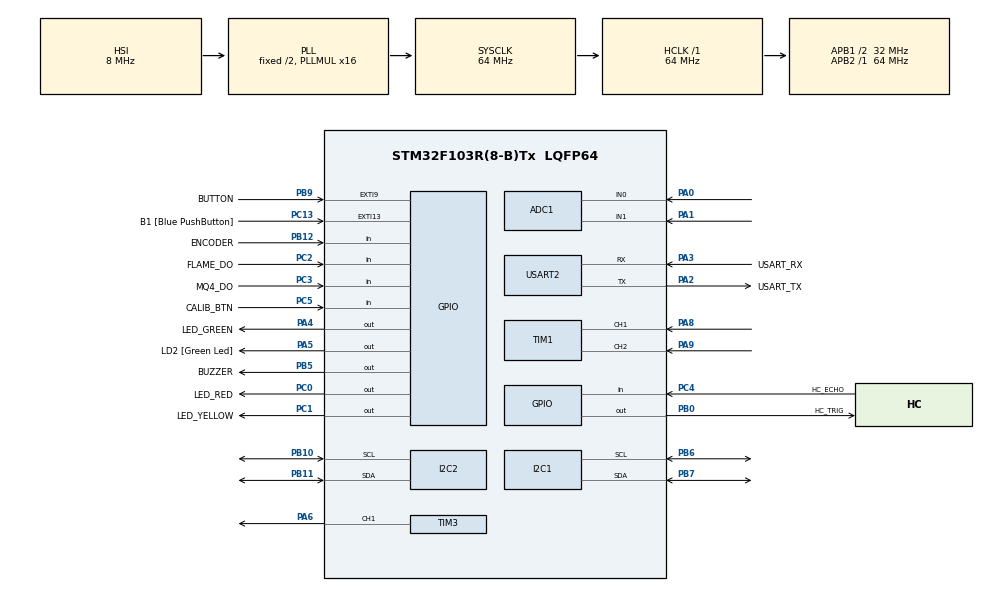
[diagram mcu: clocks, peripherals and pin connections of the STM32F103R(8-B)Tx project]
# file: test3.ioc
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ADC1.Channel-0\#ChannelRegularConversion=ADC_CHANNEL_0
ADC1.Channel-1\#ChannelRegularConversion=ADC_CHANNEL_1
ADC1.ContinuousConvMode=ENABLE
ADC1.NbrOfConversion=2
ADC1.NbrOfConversionFlag=1
ADC1.Rank-0\#ChannelRegularConversion=1
ADC1.Rank-1\#ChannelRegularConversion=2
ADC1.SamplingTime-0\#ChannelRegularConversion=ADC_SAMPLETIME_55CYCLES_5
ADC1.SamplingTime-1\#ChannelRegularConversion=ADC_SAMPLETIME_55CYCLES_5
ADC1.master=1
Dma.ADC1.0.Direction=DMA_PERIPH_TO_MEMORY
Dma.ADC1.0.Instance=DMA1_Channel1
Dma.ADC1.0.MemDataAlignment=DMA_MDATAALIGN_HALFWORD
Dma.ADC1.0.MemInc=DMA_MINC_ENABLE
Dma.ADC1.0.Mode=DMA_CIRCULAR
Dma.ADC1.0.PeriphDataAlignment=DMA_PDATAALIGN_HALFWORD
Dma.ADC1.0.PeriphInc=DMA_PINC_DISABLE
Dma.ADC1.0.Priority=DMA_PRIORITY_LOW
Dma.Request0=ADC1
Mcu.Family=STM32F1
Mcu.Name=STM32F103R(8-B)Tx
Mcu.Package=LQFP64
NVIC.DMA1_Channel1_IRQn=true\:0\:0\:false\:false\:true\:false\:true\:true
NVIC.EXTI15_10_IRQn=true\:1\:0\:true\:false\:true\:true\:true\:true
NVIC.EXTI9_5_IRQn=true\:1\:0\:true\:false\:true\:true\:true\:true
NVIC.PriorityGroup=NVIC_PRIORITYGROUP_4
PA0-WKUP.Signal=ADCx_IN0
PA1.Signal=ADCx_IN1
PA13.GPIO_Label=TMS
PA13.Mode=Serial_Wire
PA13.Signal=SYS_JTMS-SWDIO
PA14.GPIO_Label=TCK
PA14.Mode=Serial_Wire
PA14.Signal=SYS_JTCK-SWCLK
PA2.GPIO_Label=USART_TX
PA2.GPIO_Mode=GPIO_MODE_AF_PP
PA2.GPIO_PuPd=GPIO_NOPULL
PA2.GPIO_Speed=GPIO_SPEED_FREQ_LOW
PA2.Mode=Asynchronous
PA2.Signal=USART2_TX
PA3.GPIO_Label=USART_RX
PA3.GPIO_Mode=GPIO_MODE_AF_PP
PA3.GPIO_PuPd=GPIO_NOPULL
PA3.GPIO_Speed=GPIO_SPEED_FREQ_LOW
PA3.Mode=Asynchronous
PA3.Signal=USART2_RX
PA4.GPIO_Label=LED_GREEN
PA4.Signal=GPIO_Output
PA5.GPIO_Label=LD2 [Green Led]
PA5.GPIO_ModeDefaultOutputPP=GPIO_MODE_OUTPUT_PP
PA5.GPIO_PuPd=GPIO_NOPULL
PA5.GPIO_Speed=GPIO_SPEED_FREQ_LOW
PA5.Signal=GPIO_Output
PA6.Signal=S_TIM3_CH1
PA8.Signal=S_TIM1_CH1
PA9.Signal=S_TIM1_CH2
PB0.GPIO_Label=HC_TRIG
PB0.Signal=GPIO_Output
PB10.Mode=I2C
PB10.Signal=I2C2_SCL
PB11.Mode=I2C
PB11.Signal=I2C2_SDA
PB12.GPIO_Label=ENCODER
PB12.GPIO_PuPd=GPIO_PULLUP
PB12.Signal=GPIO_Input
PB3.GPIO_Label=SWO
PB3.Signal=SYS_JTDO-TRACESWO
PB5.GPIO_Label=BUZZER
PB5.Signal=GPIO_Output
PB6.Mode=I2C
PB6.Signal=I2C1_SCL
PB7.Mode=I2C
PB7.Signal=I2C1_SDA
PB9.GPIO_Label=BUTTON 
PB9.GPIO_ModeDefaultEXTI=GPIO_MODE_IT_FALLING
PB9.GPIO_PuPd=GPIO_PULLUP
PB9.Signal=GPXTI9
PC0.GPIO_Label=LED_RED
PC0.Signal=GPIO_Output
PC1.GPIO_Label=LED_YELLOW
PC1.Signal=GPIO_Output
PC13-TAMPER-RTC.GPIO_Label=B1 [Blue PushButton]
PC13-TAMPER-RTC.GPIO_PuPd=GPIO_NOPULL
PC13-TAMPER-RTC.Signal=GPXTI13
PC14-OSC32_IN.Signal=RCC_OSC32_IN
PC15-OSC32_OUT.Signal=RCC_OSC32_OUT
PC2.GPIO_Label=FLAME_DO
PC2.Signal=GPIO_Input
PC3.GPIO_Label=MQ4_DO
PC3.Signal=GPIO_Input
PC4.GPIO_Label=HC_ECHO
PC4.Signal=GPIO_Input
PC5.GPIO_Label=CALIB_BTN
PC5.GPIO_PuPd=GPIO_PULLUP
PC5.Signal=GPIO_Input
PD0-OSC_IN.Signal=RCC_OSC_IN
PD1-OSC_OUT.Signal=RCC_OSC_OUT
ProjectManager.HeapSize=0x200
ProjectManager.StackSize=0x400
ProjectManager.TargetToolchain=STM32CubeIDE
RCC.ADCPresc=RCC_ADCPCLK2_DIV8
RCC.AHBFreq_Value=64000000
RCC.APB1CLKDivider=RCC_HCLK_DIV2
RCC.APB1Freq_Value=32000000
RCC.APB1TimFreq_Value=64000000
RCC.APB2Freq_Value=64000000
RCC.APB2TimFreq_Value=64000000
RCC.HCLKFreq_Value=64000000
RCC.PLLMUL=RCC_PLL_MUL16
RCC.RTCClockSelection=RCC_RTCCLKSOURCE_LSE
RCC.SYSCLKFreq_VALUE=64000000
RCC.SYSCLKSource=RCC_SYSCLKSOURCE_PLLCLK
RCC.USBFreq_Value=64000000
SH.ADCx_IN0.0=ADC1_IN0,IN0
SH.ADCx_IN1.0=ADC1_IN1,IN1
SH.S_TIM1_CH1.0=TIM1_CH1,Encoder_Interface
SH.S_TIM1_CH2.0=TIM1_CH2,Encoder_Interface
SH.S_TIM3_CH1.0=TIM3_CH1,PWM Generation1 CH1
TIM1.EncoderMode=TIM_ENCODERMODE_TI12
TIM2.Prescaler=63
TIM3.Channel-PWM\ Generation1\ CH1=TIM_CHANNEL_1
TIM3.Period=19999
TIM3.Prescaler=63
TIM3.Pulse-PWM\ Generation1\ CH1=1500
USART2.VirtualMode=VM_ASYNC
VP_TIM2_VS_ClockSourceINT.Mode=Internal
VP_TIM3_VS_ClockSourceINT.Mode=Internal
board=NUCLEO-F103RB

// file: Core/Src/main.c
/* USER CODE BEGIN Header */

/**

  ******************************************************************************

  * @file           : main.c

  * @brief          : Main program body

  ******************************************************************************

  * @attention

  *

  * Copyright (c) 2026 STMicroelectronics.

  * All rights reserved.

  *

  ******************************************************************************

  */

/* USER CODE END Header */
#include "main.h"

/* USER CODE BEGIN Includes */

#include <stdio.h>
#include <stdlib.h>

/* USER CODE END Includes */

/* USER CODE BEGIN PD */
/* ===== ADC ===== */
#define ADC_CH_COUNT   2
#define MQ4_IDX        0
#define FLAME_IDX      1
#define VREF           3.3f
#define ADC_MAX        4095.0f

/* ===== MLX90614 ===== */
#define MLX90614_ADDR         (0x5A << 1)
#define MLX90614_REG_AMBIENT  0x06
#define MLX90614_REG_OBJECT   0x07

/* ===== HC-SR04 ===== */
#define HC_SR04_TIMEOUT_US    30000

/* ===== SERVO (2600=닫힘/9시, 1500=열림/12시) ===== */
#define SERVO_OPEN_US   1500
#define SERVO_CLOSE_US  2600
#define SERVO_MIN_US    1500
#define SERVO_MAX_US    2600

#define PRINT_PERIOD_MS 500

/* ===== 경보 핀 매핑 ===== */
#define BUZZER_PORT  BUZZER_GPIO_Port
#define BUZZER_PIN   BUZZER_Pin
#define LED_R_PORT   LED_RED_GPIO_Port
#define LED_R_PIN    LED_RED_Pin
#define LED_Y_PORT   LED_YELLOW_GPIO_Port
#define LED_Y_PIN    LED_YELLOW_Pin
#define LED_G_PORT   LED_GREEN_GPIO_Port
#define LED_G_PIN    LED_GREEN_Pin
#define ACT_ON       GPIO_PIN_SET     /* active-low이면 RESET */
#define ACT_OFF      GPIO_PIN_RESET

#define FLAME_ON_LEVEL  0             /* 불꽃 DO 극성(현재 버너는 잘 안 잡힘) */

/* ===== 가스 (절대 raw 임계 + 지속) ===== */
#define GAS_WARN_RAW     2100         /* 경고 (시작 상한 2000 위) */
#define GAS_DAN_RAW      2300         /* 위험 (실측 누출값) */
#define GAS_DAN_RAW_COOK 2700         /* 조리 중엔 둔감 */
#define GAS_DAN_HOLD     5            /* 위험은 연속 5틱(2.5s) 지속돼야 확정 */

/* ===== 온도 ===== */
#define DT_ON          15.0f       /* 이 이상이면 "버너 활성"(heat_on) — 가스임계 완화용 */
#define DT_DANGER      260.0f      /* 표면 과열(soft, WARN) */
#define TA_DANGER      70.0f       /* 주변온도 과열(hard) */
#define S_DRY          30.0f       /* 빈냄비 의심 기울기(soft) */

/* ===== 불꽃센서 (화재감지 전용 · 화구에서 떨어뜨려 배치 · 아날로그 상대) ===== */
#define FLAME_DROP     800         /* 부팅 기준선 대비 이만큼↓ 떨어지면 불꽃 */
#define FLAME_FIRE_CNT 6           /* 연속 6틱(약 3s) 지속돼야 화재 확정 */

/* ===== 점유(HC-SR04) ===== */
#define PRESENCE_CM_DEFAULT 100.0f  /* 기본 거리임계(런타임 g_presence_cm 초기값) */
#define PRESENCE_ON_TICKS 2       /* 가까움 연속 2틱이어야 "사람 있음" 인정(스파이크 방지) */

/* ===== 거리 임계값 보정 모드 (S_CALIB) =====
 * CALIB 버튼 → 5초 대기(사용자 화구 앞 이동) → 10초 측정 평균 → 임계값 채택.
 * 주의(CAUTION)·경보(ALERT)에서는 진입 불가. */
#define CALIB_BTN_PORT     GPIOC        /* ★ 보정 버튼 핀(.ioc GPIO 입력 풀업) */
#define CALIB_BTN_PIN      GPIO_PIN_5
#define CALIB_BTN_ACTIVE_LOW 1
#define CALIB_WAIT_MS      5000UL       /* 진입 후 대기(이동 시간) */
#define CALIB_MEAS_MS      10000UL      /* 측정 시간 */
#define CALIB_MARGIN_CM    20.0f        /* 측정 평균 + 여유 = 임계값(서 있는 위치보다 약간 멀리) */
#define CALIB_MIN_CM       20.0f        /* 임계값 하한 */
#define CALIB_MAX_CM       400.0f       /* 임계값 상한 */
#define CALIB_MIN_SAMPLES  3            /* 유효 샘플 최소(미만이면 보정 실패, 기존값 유지) */

/* ===== 타이머 =====
 * ***********************************************************************
 * *  [!] 아래는 디버그용 "단축값"이다. 디버깅이 끝나면 반드시 우측 주석의  *
 * *      실제 목표값으로 되돌릴 것. (경진대회/실사용 전 필수 체크리스트)   *
 * *********************************************************************** */
#define T_ABS_DEB_MS   3000UL      /* 이탈 확정 지속       · 실제 3000~8000 */
#define T_BASE_MS      60000UL     /* 기본 타이머(추후 가변) · 실제 15분 = 900000 */
#define T_CONFIRM_MS   10000UL     /* 문제(WARN) 유예       · 실제 30초 = 30000 */
#define T_CAP_SESSION_MS 300000UL  /* 절대 세션 상한        · 실제 2시간 = 7200000 */
#define T_WARMUP_MS    3000UL      /* 부팅 워밍업          · 실제 300초 = 300000 */
#define T_POSTCLOSE_MS 15000UL     /* 주의(관찰) 최소       · 실제 60초 = 60000 */
#define T_GASFAIL_MS   10000UL     /* 닫힘 실패 감시창 */
#define TOBJ_HIST_N    20

/* ===== 상태 안정화 (채터링 방지: 지속/체류 조건) ===== */
#define SOFT_ENTER_TICKS  3        /* 소프트 이상 연속 3틱(1.5s)이면 문제 진입 */
#define CLEAR_TICKS       3        /* 해소도 연속 3틱이어야 복귀 */
#define WARN_MIN_MS       3000UL   /* 문제 최소 체류(바로 튕겨나가기 방지) */
#define CAUTION_OK_TICKS  6        /* 주의→대기: 안정 연속 6틱(3s) */
#define ALERT_EASE_TICKS  10       /* 경보→주의: 완화 연속 10틱(5s) */

/* ===== 타이머콕: 엔코더 + I2C CLCD 설정 타이머 (v8) =====
 * 스텝: 1~10분(1분) → ~60분(10분) → ~9시간(60분). 개방 시 확정 → 만료 시 잠금. */
#define TSET_MIN_MIN   1
#define TSET_MAX_MIN   540         /* 9시간 */
#define TSET_DEFAULT   30

/* --- 엔코더: 타이머 Encoder Mode = TIM1 (PA8=CH1, PA9=CH2) --- *
 * ★ .ioc: TIM1을 Encoder Mode로. 초음파 ECHO는 PA8→PC4로 이동(라벨 HC_ECHO 유지). */
#define ENC_TIM               htim1        /* TIM1 엔코더 */
#define ENC_COUNTS_PER_DETENT 4            /* 1클릭당 카운트(보통 4, 어떤건 2). 방향 반대면 A/B swap */
#define ENC_SW_PORT           GPIOB        /* 엔코더 푸시 스위치 = PB12 */
#define ENC_SW_PIN            GPIO_PIN_12
#define ENC_SW_ACTIVE_LOW     1            /* 풀업+눌림=LOW면 1 */

/* --- I2C CLCD (PCF8574 백팩, HD44780 4비트) = I2C2 단독(MLX와 분리) --- *
 * ★ .ioc: I2C2 활성(SCL=PB10, SDA=PB11). FLAME_DO→PC2, MQ4_DO→PC3로 이동(라벨 유지).
 *   I2C2(PB10/11)는 5V 관용이라 CLCD 5V 구동 가능(MLX 버스와 분리라 안전). */
#define LCD_HI2C   hi2c2                    /* CLCD 전용 I2C2 */
#define LCD_ADDR   (0x27 << 1)             /* PCF8574 주소(보통 0x27, 간혹 0x3F) */
/* USER CODE END PD */

ADC_HandleTypeDef hadc1;
DMA_HandleTypeDef hdma_adc1;

I2C_HandleTypeDef hi2c1;
I2C_HandleTypeDef hi2c2;

TIM_HandleTypeDef htim1;
TIM_HandleTypeDef htim2;
TIM_HandleTypeDef htim3;

UART_HandleTypeDef huart2;

/* USER CODE BEGIN PV */
volatile uint16_t g_adc[ADC_CH_COUNT];
volatile uint32_t g_rx_count = 0;
volatile uint8_t  g_servo_changed = 0;
volatile uint16_t g_servo_us = SERVO_OPEN_US;

float g_mq4_r0 = 10.0f;
float g_hc_distance_cm = 0.0f;

volatile uint8_t g_confirm = 0;        /* 확인/해제 */
volatile uint8_t g_test_danger = 0;    /* 'x' 강제위험(테스트) */
volatile uint8_t g_open_request = 0;   /* 버튼: 열기 */
volatile uint8_t g_close_request = 0;  /* 버튼: 정상 닫기 */

volatile uint16_t g_set_minutes = TSET_DEFAULT;  /* 확정된 설정 시간(분) */
volatile uint16_t g_set_pending = TSET_DEFAULT;  /* 엔코더로 조절 중인 값(누르면 확정) */

volatile uint8_t  g_calib_request = 0;           /* CALIB 버튼: 거리 보정 진입 요청 */
float             g_presence_cm = PRESENCE_CM_DEFAULT;  /* 런타임 거리 임계값(보정으로 갱신) */

typedef enum { S_BOOT, S_IDLE, S_OPEN, S_WARN, S_CLOSE, S_CAUTION, S_ALERT, S_CALIB } fsm_state_t;
/* 문제(WARN) 진입 사유 */
typedef enum { WR_NONE, WR_SENSOR, WR_TIMER, WR_CAP } warn_reason_t;

typedef struct {
    fsm_state_t state;
    uint16_t gas_raw, gas_base, gas_rise; int16_t gas_step; uint8_t gas_hold;
    uint16_t flame_raw, flame_base; uint8_t flame_do, flame_detect;
    uint8_t temp_ok, heat_on; float tobj, ta, dT, slope;
    uint8_t dist_ok, present; float dist;
    uint8_t gas_warn, gas_danger, flameout_rawgas, fire, device_overheat, overheat, boil_dry, immediate_danger;
    uint8_t soft_n;              /* 동시 소프트 이상 개수(가스경고/과열/빈냄비) */
    uint8_t warn_reason;
    uint32_t remain_s, elapsed_s;
    uint16_t set_min; uint32_t set_remain_s;   /* 설정 시간 / 잔여(초) */
} tele_t;
tele_t g_tele;
/* USER CODE END PV */

void SystemClock_Config(void);
static void MX_GPIO_Init(void);
static void MX_DMA_Init(void);
static void MX_USART2_UART_Init(void);
static void MX_ADC1_Init(void);
static void MX_I2C1_Init(void);
static void MX_TIM3_Init(void);
static void MX_TIM2_Init(void);
static void MX_TIM1_Init(void);
static void MX_I2C2_Init(void);
/* USER CODE BEGIN PFP */
int __io_putchar(int ch);
void Servo_SetPulse(uint16_t pulse_us);
void Servo_ApplyPulse(int32_t pulse_us);
void Servo_HandleChar(uint8_t c);
HAL_StatusTypeDef MLX90614_ReadTemp(uint8_t reg, float *temp_c);
void Delay_us(uint16_t us);
HAL_StatusTypeDef HC_SR04_ReadDistance(float *distance_cm);
void Alarm_On(void);
void Alarm_Off(void);
void Buzzer_Beep(uint16_t ms);
void LED_Show(fsm_state_t s);
void Notify(const char *m);
void Servo_Close_Valve(void);
void Servo_Open_Valve(void);
void Servo_Detach(void);
void Valve_UserOpen(void);
void Valve_UserClose(void);
const char* fsm_state_name(fsm_state_t s);
void FSM_Step(uint16_t gas_raw, uint8_t flame_do, uint16_t flame_raw,
              float tobj, float ta, uint8_t temp_ok, float dist_cm, uint8_t dist_ok);
void Tele_Print(void);
/* I2C CLCD + 엔코더 설정 타이머 */
void LCD_Init(void);
void LCD_Cmd(uint8_t c);
void LCD_Data(uint8_t d);
void LCD_Gotoxy(uint8_t col, uint8_t row);
void LCD_Puts(const char *s);
void LCD_UpdateStatus(void);
void Encoder_Init(void);
void Encoder_Poll(void);
void EncBtn_Poll(void);
/* USER CODE END PFP */

/* USER CODE BEGIN 0 */
int __io_putchar(int ch)
{
    HAL_UART_Transmit(&huart2, (uint8_t *)&ch, 1, HAL_MAX_DELAY);
    return ch;
}

void Servo_SetPulse(uint16_t pulse_us)
{
    __HAL_TIM_SET_COMPARE(&htim3, TIM_CHANNEL_1, pulse_us);
}
void Servo_ApplyPulse(int32_t pulse_us)
{
    if (pulse_us < SERVO_MIN_US) pulse_us = SERVO_MIN_US;
    if (pulse_us > SERVO_MAX_US) pulse_us = SERVO_MAX_US;
    g_servo_us = (uint16_t)pulse_us;
    Servo_SetPulse(g_servo_us);
    g_servo_changed = 1;
}

/* UART 수신: k=확인/해제, x=강제위험(테스트). 그 외 무시 */
void Servo_HandleChar(uint8_t c)
{
    switch (c) {
        case 'k': case 'K': g_confirm = 1; break;
        case 'x': case 'X': g_test_danger = 1; break;
        default: break;
    }
}

HAL_StatusTypeDef MLX90614_ReadTemp(uint8_t reg, float *temp_c)
{
    uint8_t data[3];
    HAL_StatusTypeDef st = HAL_I2C_Mem_Read(&hi2c1, MLX90614_ADDR, reg, I2C_MEMADD_SIZE_8BIT, data, 3, 100);
    if (st != HAL_OK) return st;
    uint16_t raw = ((uint16_t)data[1] << 8) | data[0];
    if (raw & 0x8000) return HAL_ERROR;
    *temp_c = ((float)raw * 0.02f) - 273.15f;
    return HAL_OK;
}

void Delay_us(uint16_t us)
{
    uint16_t s = (uint16_t)__HAL_TIM_GET_COUNTER(&htim2);
    while ((uint16_t)((uint16_t)__HAL_TIM_GET_COUNTER(&htim2) - s) < us) {}
}

HAL_StatusTypeDef HC_SR04_ReadDistance(float *distance_cm)
{
    uint16_t s, es, ee, pu;
    HAL_GPIO_WritePin(HC_TRIG_GPIO_Port, HC_TRIG_Pin, GPIO_PIN_RESET); Delay_us(2);
    HAL_GPIO_WritePin(HC_TRIG_GPIO_Port, HC_TRIG_Pin, GPIO_PIN_SET);   Delay_us(10);
    HAL_GPIO_WritePin(HC_TRIG_GPIO_Port, HC_TRIG_Pin, GPIO_PIN_RESET);
    s = (uint16_t)__HAL_TIM_GET_COUNTER(&htim2);
    while (HAL_GPIO_ReadPin(HC_ECHO_GPIO_Port, HC_ECHO_Pin) == GPIO_PIN_RESET)
        if ((uint16_t)((uint16_t)__HAL_TIM_GET_COUNTER(&htim2) - s) > HC_SR04_TIMEOUT_US) return HAL_TIMEOUT;
    es = (uint16_t)__HAL_TIM_GET_COUNTER(&htim2);
    while (HAL_GPIO_ReadPin(HC_ECHO_GPIO_Port, HC_ECHO_Pin) == GPIO_PIN_SET)
        if ((uint16_t)((uint16_t)__HAL_TIM_GET_COUNTER(&htim2) - es) > HC_SR04_TIMEOUT_US) return HAL_TIMEOUT;
    ee = (uint16_t)__HAL_TIM_GET_COUNTER(&htim2); pu = (uint16_t)(ee - es);
    *distance_cm = ((float)pu * 0.0343f) / 2.0f;
    return HAL_OK;
}

void Alarm_On(void)  { HAL_GPIO_WritePin(LED_R_PORT, LED_R_PIN, ACT_ON); }   /* 부저는 Buzzer_Beep로 */
void Alarm_Off(void) { HAL_GPIO_WritePin(BUZZER_PORT, BUZZER_PIN, ACT_OFF); HAL_GPIO_WritePin(LED_R_PORT, LED_R_PIN, ACT_OFF); }

/* 패시브 부저 2kHz 톤 */
void Buzzer_Beep(uint16_t ms)
{
    uint32_t s = HAL_GetTick();
    while (HAL_GetTick() - s < ms) {
        HAL_GPIO_WritePin(BUZZER_PORT, BUZZER_PIN, ACT_ON);  Delay_us(250);
        HAL_GPIO_WritePin(BUZZER_PORT, BUZZER_PIN, ACT_OFF); Delay_us(250);
    }
}

void LED_Show(fsm_state_t s)
{
    GPIO_PinState g = ACT_OFF, y = ACT_OFF, r = ACT_OFF;
    if (s == S_IDLE || s == S_OPEN)                 g = ACT_ON;
    else if (s == S_CALIB)                          { g = ACT_ON; y = ACT_ON; }  /* 보정 중 */
    else if (s == S_WARN || s == S_CAUTION)         y = ACT_ON;
    else if (s == S_CLOSE || s == S_ALERT)          r = ACT_ON;
    HAL_GPIO_WritePin(LED_G_PORT, LED_G_PIN, g);
    HAL_GPIO_WritePin(LED_Y_PORT, LED_Y_PIN, y);
    HAL_GPIO_WritePin(LED_R_PORT, LED_R_PIN, r);
}
void Notify(const char *m) { printf("[NOTIFY] %s\r\n", m); }

/* --- 서보: 닫을 때만 구동, 그 외 detach(신호 LOW) --- */
static void Servo_PinAF(void)
{
    GPIO_InitTypeDef g = {0};
    g.Pin = GPIO_PIN_6; g.Mode = GPIO_MODE_AF_PP; g.Pull = GPIO_NOPULL; g.Speed = GPIO_SPEED_FREQ_LOW;
    HAL_GPIO_Init(GPIOA, &g);
}
void Servo_Detach(void)   /* 펄스 LOW 구간에서 정지(runt 방지) + 입력 풀다운 */
{
    uint32_t guard = 0;
    while (__HAL_TIM_GET_COUNTER(&htim3) < SERVO_CLOSE_US && ++guard < 200000) {}
    HAL_TIM_PWM_Stop(&htim3, TIM_CHANNEL_1);
    GPIO_InitTypeDef g = {0};
    g.Pin = GPIO_PIN_6; g.Mode = GPIO_MODE_INPUT; g.Pull = GPIO_PULLDOWN;
    HAL_GPIO_Init(GPIOA, &g);
}
void Servo_Close_Valve(void)
{
    Servo_PinAF();
    __HAL_TIM_SET_COMPARE(&htim3, TIM_CHANNEL_1, SERVO_CLOSE_US);
    HAL_TIM_PWM_Start(&htim3, TIM_CHANNEL_1);
    g_servo_us = SERVO_CLOSE_US; g_servo_changed = 1;
    HAL_Delay(800);
    Servo_Detach();
}
void Servo_Open_Valve(void)
{
    Servo_PinAF();
    __HAL_TIM_SET_COMPARE(&htim3, TIM_CHANNEL_1, SERVO_OPEN_US);
    HAL_TIM_PWM_Start(&htim3, TIM_CHANNEL_1);
    g_servo_us = SERVO_OPEN_US; g_servo_changed = 1;
    HAL_Delay(800);
    Servo_Detach();
}

const char* fsm_state_name(fsm_state_t s)
{
    switch (s) {
        case S_BOOT: return "BOOT"; case S_IDLE: return "IDLE"; case S_OPEN: return "OPEN";
        case S_WARN: return "WARN"; case S_CLOSE: return "CLOSE";
        case S_CAUTION: return "CAUTION"; case S_ALERT: return "ALERT";
        case S_CALIB: return "CALIB"; default: return "?";
    }
}

static fsm_state_t g_state = S_BOOT;
static uint16_t gas_base = 0, gas_prev = 0, gas_at_close = 0;
static uint16_t flame_base = 0; static uint8_t flame_base_set = 0;
static uint8_t  gas_base_set = 0, heat_prev = 0;
static uint32_t heat_off_ms = 0;
static float    tobj_hist[TOBJ_HIST_N];
static uint8_t  tobj_idx = 0, tobj_fill = 0;
static uint32_t t_session_start = 0, t_deadline = 0, t_state_enter = 0, t_present_last = 0, t_close_done = 0;
static uint32_t g_set_ms_latched = 0;   /* 개방 시 확정된 설정시간(ms) */
static uint8_t  present = 0, close_reason_alarm = 0, near_cnt = 0;
static uint8_t  soft_cnt = 0, clr_cnt = 0, cau_cnt = 0, alert_ease_cnt = 0, comp_cnt = 0;
static warn_reason_t warn_reason = WR_NONE;
static float    calib_sum = 0.0f; static uint16_t calib_cnt = 0;   /* 거리 보정 누적 */

static void fsm_goto(fsm_state_t s, const char *name)
{
    g_state = s; t_state_enter = HAL_GetTick(); LED_Show(s);
    printf("[FSM] -> %s\r\n", name);
}
static float tobj_slope(float v)   /* ℃/min (10초 전 대비) */
{
    tobj_hist[tobj_idx] = v;
    tobj_idx = (uint8_t)((tobj_idx + 1) % TOBJ_HIST_N);
    if (tobj_fill < TOBJ_HIST_N) { tobj_fill++; return 0.0f; }
    return (v - tobj_hist[tobj_idx]) * 6.0f;
}

/* 버튼: 사용자 개방 / 정상 닫기 */
void Valve_UserOpen(void)
{
    Alarm_Off();
    Servo_Open_Valve();
    t_session_start = HAL_GetTick();
    g_set_ms_latched = (uint32_t)g_set_minutes * 60000UL;   /* 설정시간 확정(래치) */
    t_deadline = t_session_start + T_BASE_MS;
    soft_cnt = 0; clr_cnt = 0; comp_cnt = 0; near_cnt = 0; warn_reason = WR_NONE;
    fsm_goto(S_OPEN, "OPEN(btn)");
}
void Valve_UserClose(void)
{
    Servo_Close_Valve();
    Alarm_Off();
    t_session_start = 0; g_set_ms_latched = 0; t_deadline = HAL_GetTick();
    near_cnt = 0; soft_cnt = 0; comp_cnt = 0;
    fsm_goto(S_IDLE, "IDLE(btn close)");
}

void FSM_Step(uint16_t gas_raw, uint8_t flame_do, uint16_t flame_raw,
              float tobj, float ta, uint8_t temp_ok, float dist_cm, uint8_t dist_ok)
{
    uint32_t now = HAL_GetTick();

    if (!gas_base_set && now > 2000) { gas_base = gas_raw; gas_base_set = 1; }
    uint16_t gas_rise = (gas_raw > gas_base) ? (uint16_t)(gas_raw - gas_base) : 0;
    int32_t  gas_step = (int32_t)gas_raw - (int32_t)gas_prev; gas_prev = gas_raw;

    /* 불꽃센서: 화재감지 전용(아날로그 상대). 부팅 기준선 대비 크게↓ = 불꽃 */
    if (!flame_base_set && now > 2000) { flame_base = flame_raw; flame_base_set = 1; }
    uint8_t flame_detect = (flame_base_set && (flame_raw + FLAME_DROP < flame_base)) ? 1 : 0;

    /* Tobj 저역통과(노이즈 스파이크 억제) */
    static float tobj_f = 0.0f; static uint8_t tobj_f_init = 0;
    if (temp_ok) { if (!tobj_f_init) { tobj_f = tobj; tobj_f_init = 1; } else tobj_f = tobj_f*0.7f + tobj*0.3f; }
    float dT = temp_ok ? (tobj_f - ta) : 0.0f;
    float slope = temp_ok ? tobj_slope(tobj_f) : 0.0f;

    uint8_t heat_on = (temp_ok && dT > DT_ON) ? 1 : 0;   /* 표면이 뜨거움 = 버너 활성(가스임계 완화용) */
    if (heat_prev == 1 && heat_on == 0) heat_off_ms = now;
    uint8_t cooking = heat_on;                      /* 상태 아닌 온도(heat_on)로만 조리 판단 */

    /* 감지도 지속 조건(연속 N틱)이어야 인정 — 단발 스파이크로 타이머 리셋 방지 */
    uint8_t near_now = (dist_ok && dist_cm < g_presence_cm) ? 1 : 0;
    if (near_now) { if (near_cnt < 255) near_cnt++; } else near_cnt = 0;
    if (near_cnt >= PRESENCE_ON_TICKS) { t_present_last = now; present = 1; }  /* 지속 감지만 present */
    else if (now - t_present_last > T_ABS_DEB_MS) present = 0;                  /* 이탈은 기존 디바운스 */

    /* --- 화재/과열 (기울기 기반 오경보 원인 제거: 불꽃센서+주변온도만) --- */
    uint8_t device_overheat = (temp_ok && ta > TA_DANGER && ta < 150.0f);  /* 주변온도 과열(hard) */
    static uint8_t fire_cnt = 0;
    if (flame_detect) { if (fire_cnt < 255) fire_cnt++; } else fire_cnt = 0;
    uint8_t fire = (fire_cnt >= FLAME_FIRE_CNT) || device_overheat;         /* 불꽃(지속) 또는 주변과열 */
    uint8_t overheat = (temp_ok && dT > DT_DANGER);                         /* 표면 과열(soft) */

    /* --- 가스 (heat_on이면 조리로 보고 임계 완화) --- */
    uint16_t dan = cooking ? GAS_DAN_RAW_COOK : GAS_DAN_RAW;
    uint8_t gas_warn = (gas_raw > GAS_WARN_RAW);
    static uint8_t gas_hi_cnt = 0;
    if (gas_raw > dan) { if (gas_hi_cnt < 255) gas_hi_cnt++; } else gas_hi_cnt = 0;
    uint8_t gas_danger = (gas_hi_cnt >= GAS_DAN_HOLD);

    /* 플레임아웃: 가열되다 꺼진 직후 가스 잔존(미연소 누출) */
    uint8_t flameout_rawgas = (heat_on == 0) && (heat_off_ms != 0) &&
                              (now - heat_off_ms < 30000UL) && (gas_raw > GAS_WARN_RAW) && (slope <= 0.0f);
    uint8_t immediate_danger = gas_danger || flameout_rawgas || fire || device_overheat;
    if (g_test_danger) { immediate_danger = 1; g_test_danger = 0; }
    uint8_t boil_dry = (!present) && (slope > S_DRY);
    heat_prev = heat_on;

    /* 동시 소프트 이상 개수(우선순위 판단용): 가스경고 / 표면과열 / 빈냄비 */
    uint8_t soft_n = (uint8_t)((gas_warn?1:0) + (overheat?1:0) + (boil_dry?1:0));

    /* 텔레메트리 */
    g_tele.state=g_state; g_tele.gas_raw=gas_raw; g_tele.gas_base=gas_base; g_tele.gas_rise=gas_rise;
    g_tele.gas_step=(int16_t)gas_step; g_tele.gas_hold=gas_hi_cnt;
    g_tele.flame_raw=flame_raw; g_tele.flame_base=flame_base; g_tele.flame_do=flame_do; g_tele.flame_detect=flame_detect;
    g_tele.temp_ok=temp_ok; g_tele.heat_on=heat_on; g_tele.tobj=tobj_f; g_tele.ta=ta; g_tele.dT=dT; g_tele.slope=slope;
    g_tele.dist_ok=dist_ok; g_tele.dist=dist_cm; g_tele.present=present;
    g_tele.gas_warn=gas_warn; g_tele.gas_danger=gas_danger; g_tele.flameout_rawgas=flameout_rawgas;
    g_tele.fire=fire; g_tele.device_overheat=device_overheat; g_tele.overheat=overheat;
    g_tele.boil_dry=boil_dry; g_tele.immediate_danger=immediate_danger;
    g_tele.soft_n=soft_n;
    g_tele.warn_reason=(uint8_t)warn_reason;
    g_tele.remain_s=(t_deadline>now)?((t_deadline-now)/1000):0;
    g_tele.elapsed_s=(t_session_start && now>=t_session_start)?((now-t_session_start)/1000):0;
    g_tele.set_min=g_set_minutes;
    g_tele.set_remain_s=(t_session_start && g_set_ms_latched && now < t_session_start+g_set_ms_latched)
                        ? ((t_session_start+g_set_ms_latched-now)/1000) : 0;

    /* 거리 보정 진입: 주의·경보(및 부팅/닫힘 전이) 아닐 때만, 위험 없을 때만 */
    if (g_calib_request) {
        g_calib_request = 0;
        if ((g_state == S_IDLE || g_state == S_OPEN || g_state == S_WARN) && !immediate_danger) {
            Servo_Close_Valve();               /* 안전: 보정 중 밸브 닫힘 */
            Alarm_Off();
            calib_sum = 0.0f; calib_cnt = 0;
            t_session_start = 0; g_set_ms_latched = 0; t_deadline = now;
            warn_reason = WR_NONE;
            fsm_goto(S_CALIB, "CALIB(enter)");
            return;
        }
    }

    switch (g_state)
    {
    case S_BOOT:
        if (now - t_state_enter > T_WARMUP_MS) { gas_base = gas_raw; gas_base_set = 1; fsm_goto(S_IDLE, "IDLE"); }
        return;

    case S_IDLE:   /* 닫힘: 버튼=열기, 가스=누출경보 */
        if (gas_rise == 0 && gas_raw < gas_base) gas_base = gas_raw;
        if (g_open_request) { g_open_request = 0; Valve_UserOpen(); return; }
        if (immediate_danger) { close_reason_alarm = 1; fsm_goto(S_CLOSE, "CLOSE(leak)"); return; }
        return;

    case S_OPEN:   /* 밸브 열림: 타이머 + 센서 감시 (조리여부는 상태 아님) */
        /* 하드 위험 → 즉시 닫기+경보 */
        if (immediate_danger) { close_reason_alarm = 1; fsm_goto(S_CLOSE, "CLOSE(danger)"); return; }
        /* 사용자 버튼 정상 닫기 */
        if (g_close_request) { g_close_request = 0; Valve_UserClose(); return; }
        /* 타이머: 사람 있으면 갱신(만료 안 됨), 없으면 카운트다운 */
        if (present) t_deadline = now + T_BASE_MS;
        /* 소프트 이상: 우선순위 = (하드는 위에서 처리) 복합(2개↑) > 단일 */
        {
            if (soft_n >= 1) { if (soft_cnt < 255) soft_cnt++; } else soft_cnt = 0;
            if (soft_n >= 2) { if (comp_cnt < 255) comp_cnt++; } else comp_cnt = 0;
            /* 복합(소프트 2개 이상 동시 지속) → 위험 준함: 경보 닫기 */
            if (comp_cnt >= SOFT_ENTER_TICKS) { close_reason_alarm = 1; fsm_goto(S_CLOSE, "CLOSE(compound)"); return; }
            /* 단일 소프트 지속 → 완충(WARN, 무경보) */
            if (soft_cnt >= SOFT_ENTER_TICKS) { warn_reason = WR_SENSOR; fsm_goto(S_WARN, "WARN(sensor)"); return; }
        }
        /* 설정 시간(엔코더) 만료 → 문제 → 무조건 잠금 */
        if (now - t_session_start > g_set_ms_latched) { warn_reason = WR_CAP; fsm_goto(S_WARN, "WARN(settime)"); return; }
        /* 타이머 만료(이탈이 그만큼 지속) → 문제(2중 안전) */
        if (now >= t_deadline) { warn_reason = WR_TIMER; fsm_goto(S_WARN, "WARN(timer/absent)"); return; }
        return;

    case S_WARN:   /* 문제(2중 안전 완충): 복귀=열림, 유예초과=무경보 닫기 */
        if (immediate_danger) { close_reason_alarm = 1; fsm_goto(S_CLOSE, "CLOSE(danger)"); return; }
        /* WARN 중 두 번째 소프트가 겹치면(복합) → 경보 닫기로 격상 */
        if (soft_n >= 2) { if (comp_cnt < 255) comp_cnt++; } else comp_cnt = 0;
        if (comp_cnt >= SOFT_ENTER_TICKS) { close_reason_alarm = 1; fsm_goto(S_CLOSE, "CLOSE(compound)"); return; }
        /* 사유별 해소 판정 */
        {
            uint8_t soft_clear = (!gas_warn && !overheat && !boil_dry);
            uint8_t clear_now;
            switch (warn_reason) {
                case WR_TIMER:    clear_now = present; break;              /* 이탈: 사람 복귀 */
                case WR_SENSOR:   clear_now = (present && soft_clear); break;
                default:          clear_now = 0; break;                   /* WR_CAP: 해소 없음 */
            }
            if (clear_now) { if (clr_cnt < 255) clr_cnt++; } else clr_cnt = 0;
            if (clr_cnt >= CLEAR_TICKS && (now - t_state_enter > WARN_MIN_MS)) {
                t_deadline = now + T_BASE_MS; warn_reason = WR_NONE;
                soft_cnt = 0; comp_cnt = 0;
                fsm_goto(S_OPEN, "OPEN(clear)"); return;
            }
        }
        /* 사용자 확인 → 열림 복귀(설정시간도 현재값으로 재시작 = 연장) */
        if (g_confirm) {
            g_confirm = 0;
            t_session_start = now; g_set_ms_latched = (uint32_t)g_set_minutes * 60000UL;
            t_deadline = now + T_BASE_MS; warn_reason = WR_NONE;
            soft_cnt = 0; comp_cnt = 0;
            fsm_goto(S_OPEN, "OPEN(confirm)"); return;
        }
        /* 유예시간 경과 → 무경보 닫기 */
        if (now - t_state_enter > T_CONFIRM_MS) { close_reason_alarm = 0; fsm_goto(S_CLOSE, "CLOSE(warn-timeout)"); return; }
        return;

    case S_CLOSE:
        Servo_Close_Valve(); gas_at_close = gas_raw; t_close_done = HAL_GetTick();
        cau_cnt = 0;
        /* 닫힘: 열림 타이머·이탈 카운트는 무의미 → 초기화(remain 0으로) */
        t_session_start = 0; g_set_ms_latched = 0; t_deadline = now;
        near_cnt = 0; soft_cnt = 0; comp_cnt = 0;
        if (close_reason_alarm) { Alarm_On(); Notify("danger cut"); alert_ease_cnt = 0; fsm_goto(S_ALERT, "ALERT"); }
        else                    { fsm_goto(S_CAUTION, "CAUTION"); }
        return;

    case S_CAUTION:   /* 주의: 닫은 뒤 관찰(개방 불가). 악화→경보, 안정 지속→대기 */
        /* 닫힘 실패(가스 재상승) → 경보 */
        if ((now - t_close_done < T_GASFAIL_MS) && (gas_raw > gas_at_close + 400)) { Alarm_On(); Notify("close-fail"); alert_ease_cnt = 0; fsm_goto(S_ALERT, "ALERT(closefail)"); return; }
        /* 악화(하드 위험/과열) → 경보 */
        if (immediate_danger || overheat) { Alarm_On(); alert_ease_cnt = 0; fsm_goto(S_ALERT, "ALERT(escalate)"); return; }
        /* 안정 지속 → 대기 회복 */
        {
            uint8_t ok = (!gas_warn && !overheat && gas_raw < GAS_WARN_RAW);
            if (ok) { if (cau_cnt < 255) cau_cnt++; } else cau_cnt = 0;
            if (cau_cnt >= CAUTION_OK_TICKS && (now - t_state_enter > T_POSTCLOSE_MS)) { warn_reason = WR_NONE; Notify("recovered"); fsm_goto(S_IDLE, "IDLE"); return; }
        }
        return;

    case S_ALERT:   /* 경보(최악): 개방 불가. 위험 완화 지속 → 주의로 하강(2단계 회복), 또는 버튼 확인 */
    {
        uint8_t danger_gone = (!immediate_danger) && (!overheat);
        /* 위험 완화(가스가 경고 아래로) 지속 → 주의로 하강 */
        uint8_t easing = danger_gone && (gas_raw < GAS_WARN_RAW);
        if (easing) { if (alert_ease_cnt < 255) alert_ease_cnt++; } else alert_ease_cnt = 0;
        if (alert_ease_cnt >= ALERT_EASE_TICKS) {
            Alarm_Off(); Notify("easing -> caution");
            gas_at_close = gas_raw; t_close_done = now; cau_cnt = 0;
            fsm_goto(S_CAUTION, "CAUTION(from alert)"); return;
        }
        /* 수동 확인 + 완전 해소 → 대기 직행 */
        if (g_confirm && easing) { g_confirm = 0; Alarm_Off(); Notify("cleared"); fsm_goto(S_IDLE, "IDLE"); return; }
        if (g_confirm) g_confirm = 0;   /* 위험 남아있으면 확인 무시(플래그만 소모) */
        return;
    }

    case S_CALIB:   /* 거리 임계값 보정: 5초 대기 → 10초 측정 평균 → 임계값 채택 */
    {
        uint32_t el = now - t_state_enter;
        /* 보정 중에도 하드 위험은 감시 → 즉시 중단하고 닫기+경보 */
        if (immediate_danger) { close_reason_alarm = 1; fsm_goto(S_CLOSE, "CLOSE(danger)"); return; }

        if (el < CALIB_WAIT_MS) {
            /* 대기: 사용자 화구 앞으로 이동 */
        } else if (el < CALIB_WAIT_MS + CALIB_MEAS_MS) {
            /* 측정: 유효 거리 샘플 누적(비정상 값 제외) */
            if (dist_ok && dist_cm > 2.0f && dist_cm < CALIB_MAX_CM) { calib_sum += dist_cm; calib_cnt++; }
        } else {
            /* 완료: 평균 → 여유 가산 → 임계값 채택 */
            if (calib_cnt >= CALIB_MIN_SAMPLES) {
                float th = (calib_sum / (float)calib_cnt) + CALIB_MARGIN_CM;
                if (th < CALIB_MIN_CM) th = CALIB_MIN_CM;
                if (th > CALIB_MAX_CM) th = CALIB_MAX_CM;
                g_presence_cm = th;
                printf("[CALIB] samples=%u avg=%.1f -> presence=%.1fcm\r\n",
                       calib_cnt, calib_sum/(float)calib_cnt, g_presence_cm);
                Notify("presence calibrated");
            } else {
                Notify("calib failed (few samples, keep old)");
            }
            fsm_goto(S_IDLE, "IDLE(calib done)");
        }
        return;
    }
    }
}

void Tele_Print(void)
{
    printf("\r\n[T=%lus] STATE=%s  servo=%uus rx=%lu\r\n",
        (unsigned long)g_tele.elapsed_s, fsm_state_name(g_tele.state), (unsigned)g_servo_us, (unsigned long)g_rx_count);
    printf(" GAS raw=%u base=%u rise=%u hold=%u | WARN>%d DAN>%d(cook>%d)\r\n",
        g_tele.gas_raw, g_tele.gas_base, g_tele.gas_rise, g_tele.gas_hold, GAS_WARN_RAW, GAS_DAN_RAW, GAS_DAN_RAW_COOK);
    printf(" FLM raw=%u base=%u det=%u | TMP ok=%u heat=%u Tobj=%.1f Ta=%.1f dT=%.1f slope=%.1f/min\r\n",
        g_tele.flame_raw, g_tele.flame_base, g_tele.flame_detect,
        g_tele.temp_ok, g_tele.heat_on, g_tele.tobj, g_tele.ta, g_tele.dT, g_tele.slope);
    printf(" DIST ok=%u %.1fcm present=%u(th%.0f) | setMin=%u setRemain=%lus absRemain=%lus wR=%u(0N/1sen/2tmr/3set)\r\n",
        g_tele.dist_ok, g_tele.dist, g_tele.present, g_presence_cm, g_tele.set_min,
        (unsigned long)g_tele.set_remain_s, (unsigned long)g_tele.remain_s, g_tele.warn_reason);
    printf(" EV gasW=%u gasD=%u flmOut=%u fire=%u devOH=%u OH=%u dry=%u softN=%u IMM=%u\r\n",
        g_tele.gas_warn, g_tele.gas_danger, g_tele.flameout_rawgas, g_tele.fire,
        g_tele.device_overheat, g_tele.overheat, g_tele.boil_dry, g_tele.soft_n, g_tele.immediate_danger);
    printf("------------------------------------------\r\n");
}

/* ================= I2C CLCD (PCF8574 백팩, HD44780 4비트) ================= */
#define LCD_BL 0x08   /* 백라이트 on 비트 */
static void lcd_i2c(uint8_t b){ HAL_I2C_Master_Transmit(&LCD_HI2C, LCD_ADDR, &b, 1, 50); }
static void lcd_strobe(uint8_t d){ lcd_i2c((uint8_t)(d|0x04|LCD_BL)); Delay_us(1);
                                   lcd_i2c((uint8_t)((d&~0x04)|LCD_BL)); Delay_us(50); }
static void lcd_write4(uint8_t hi_nibble, uint8_t rs){ lcd_strobe((uint8_t)((hi_nibble&0xF0)|(rs?0x01:0x00))); }
static void lcd_send(uint8_t val, uint8_t rs){ lcd_write4((uint8_t)(val&0xF0), rs); lcd_write4((uint8_t)(val<<4), rs); }
void LCD_Cmd(uint8_t c){ lcd_send(c,0); if (c==0x01||c==0x02) HAL_Delay(2); }
void LCD_Data(uint8_t d){ lcd_send(d,1); }
void LCD_Gotoxy(uint8_t col,uint8_t row){ LCD_Cmd((uint8_t)(0x80 | ((row?0x40:0x00)+col))); }
void LCD_Puts(const char*s){ while(*s) LCD_Data((uint8_t)*s++); }
void LCD_Init(void){
    HAL_Delay(50);
    lcd_write4(0x30,0); HAL_Delay(5);
    lcd_write4(0x30,0); Delay_us(150);
    lcd_write4(0x30,0); Delay_us(150);
    lcd_write4(0x20,0); Delay_us(150);   /* 4비트 진입 */
    LCD_Cmd(0x28); LCD_Cmd(0x08); LCD_Cmd(0x01); HAL_Delay(2); LCD_Cmd(0x06); LCD_Cmd(0x0C);
}

/* ================= 엔코더 설정 타이머 ================= */
/* 스텝 규칙: 1~10분(1분) → ~60분(10분) → ~9시간(60분) */
static uint16_t tset_next(uint16_t m){
    uint16_t n = (m < 10) ? (uint16_t)(m+1) : (m < 60) ? (uint16_t)(m+10) : (uint16_t)(m+60);
    if (n > TSET_MAX_MIN) n = TSET_MAX_MIN;
    return n;
}
static uint16_t tset_prev(uint16_t m){
    uint16_t n = (m <= 10) ? (uint16_t)(m-1) : (m <= 60) ? (uint16_t)(m-10) : (uint16_t)(m-60);
    if (n < TSET_MIN_MIN || m <= TSET_MIN_MIN) n = TSET_MIN_MIN;
    return n;
}
void Encoder_Init(void){
    HAL_TIM_Encoder_Start(&ENC_TIM, TIM_CHANNEL_ALL);
    __HAL_TIM_SET_COUNTER(&ENC_TIM, 0);
    g_set_minutes = TSET_DEFAULT; g_set_pending = TSET_DEFAULT;
}
/* 엔코더 회전 → g_set_pending 갱신 (대기 상태에서만) */
void Encoder_Poll(void){
    static int32_t accum = 0; static uint16_t last = 0;
    uint16_t cnt = (uint16_t)__HAL_TIM_GET_COUNTER(&ENC_TIM);
    int16_t d = (int16_t)(cnt - last); last = cnt;
    if (g_tele.state != S_IDLE) { accum = 0; return; }   /* 열림 중 조절 금지 */
    if (d == 0) return;
    accum += d;
    while (accum >=  ENC_COUNTS_PER_DETENT){ accum -= ENC_COUNTS_PER_DETENT; g_set_pending = tset_next(g_set_pending); }
    while (accum <= -ENC_COUNTS_PER_DETENT){ accum += ENC_COUNTS_PER_DETENT; g_set_pending = tset_prev(g_set_pending); }
}
/* 엔코더 푸시 = 설정 확정(대기 상태). 개방은 PB9가 담당 */
void EncBtn_Poll(void){
    static uint8_t prev = 0; static uint32_t t_last = 0;   /* prev=이전 눌림상태(0=뗌) */
    uint8_t raw = (uint8_t)HAL_GPIO_ReadPin(ENC_SW_PORT, ENC_SW_PIN);
    uint8_t pressed = ENC_SW_ACTIVE_LOW ? (raw==0) : (raw==1);
    uint32_t now = HAL_GetTick();
    if (prev==0 && pressed && (now - t_last) > 200) {   /* 뗌→눌림 에지 */
        t_last = now;
        if (g_tele.state == S_IDLE) { g_set_minutes = g_set_pending; Notify("time set"); }
    }
    prev = pressed;
}

/* ================= 16x2 상태 표시 ================= */
static void fmt_time(uint16_t m, char*buf, int n){
    if (m < 60) snprintf(buf,(size_t)n,"%u min",(unsigned)m);
    else        snprintf(buf,(size_t)n,"%u h",(unsigned)(m/60));
}
void LCD_UpdateStatus(void){
    char t[12], l0[24], l1[24];
    if (g_tele.state==S_CALIB){
        uint32_t el = HAL_GetTick() - t_state_enter;
        if (el < CALIB_WAIT_MS){
            snprintf(l0,sizeof l0,"CALIB: stand at ");
            snprintf(l1,sizeof l1,"burner   %lus   ", (unsigned long)((CALIB_WAIT_MS-el)/1000+1));
        } else if (el < CALIB_WAIT_MS+CALIB_MEAS_MS){
            snprintf(l0,sizeof l0,"MEASURING...    ");
            snprintf(l1,sizeof l1,"hold     %lus   ", (unsigned long)((CALIB_WAIT_MS+CALIB_MEAS_MS-el)/1000+1));
        } else {
            snprintf(l0,sizeof l0,"CALIB done      ");
            snprintf(l1,sizeof l1,"th = %-3.0f cm    ", g_presence_cm);
        }
    } else if (g_tele.state==S_IDLE || g_tele.state==S_BOOT){
        fmt_time(g_set_pending, t, sizeof t);
        snprintf(l0,sizeof l0,"SET %-12s", t);
        if (g_set_pending==g_set_minutes) snprintf(l1,sizeof l1,"OK  open=BTN    ");
        else                              snprintf(l1,sizeof l1,"turn&push set   ");
    } else if (g_tele.state==S_OPEN || g_tele.state==S_WARN){
        uint32_t r=g_tele.set_remain_s;
        snprintf(l0,sizeof l0,"OPEN %02lu:%02lu:%02lu  ",
                 (unsigned long)(r/3600),(unsigned long)((r%3600)/60),(unsigned long)(r%60));
        snprintf(l1,sizeof l1,"%-12s P%c ", fsm_state_name(g_tele.state), g_tele.present?'Y':'N');
    } else {
        snprintf(l0,sizeof l0,"%-16s",(g_tele.state==S_ALERT)?"!!  ALARM  !!":"CLOSED");
        snprintf(l1,sizeof l1,"%-16s", fsm_state_name(g_tele.state));
    }
    LCD_Gotoxy(0,0); LCD_Puts(l0);
    LCD_Gotoxy(0,1); LCD_Puts(l1);
}
/* USER CODE END 0 */

int main(void)
{

  /* MCU Configuration--------------------------------------------------------*/

  /* Reset of all peripherals, Initializes the Flash interface and the Systick. */
  HAL_Init();

  /* Configure the system clock */
  SystemClock_Config();

  /* Initialize all configured peripherals */
  MX_GPIO_Init();
  MX_DMA_Init();
  MX_USART2_UART_Init();
  MX_ADC1_Init();
  MX_I2C1_Init();
  MX_TIM3_Init();
  MX_TIM2_Init();
  MX_TIM1_Init();
  MX_I2C2_Init();
  /* USER CODE BEGIN 2 */
  /* PA3(USART2_RX) 입력 재설정 (F1: RX는 Input) */
  { GPIO_InitTypeDef rx = {0}; rx.Pin = GPIO_PIN_3; rx.Mode = GPIO_MODE_INPUT; rx.Pull = GPIO_PULLUP; HAL_GPIO_Init(GPIOA, &rx); }

  /* USART2 수신 인터럽트 */
  __HAL_UART_ENABLE_IT(&huart2, UART_IT_RXNE);
  HAL_NVIC_SetPriority(USART2_IRQn, 1, 0);
  HAL_NVIC_EnableIRQ(USART2_IRQn);

  /* ADC(Scan+DMA) + us타이머 */
  HAL_ADCEx_Calibration_Start(&hadc1);
  HAL_ADC_Start_DMA(&hadc1, (uint32_t *)g_adc, ADC_CH_COUNT);
  HAL_TIM_Base_Start(&htim2);
  HAL_GPIO_WritePin(HC_TRIG_GPIO_Port, HC_TRIG_Pin, GPIO_PIN_RESET);

  /* 서보: 부팅 시 안전상태(닫힘)로 한 번 → detach(평상시 무신호) */
  Servo_Detach();
  Servo_Close_Valve();

  /* I2C CLCD + 엔코더 설정 타이머 초기화 */
  LCD_Init();
  Encoder_Init();
  LCD_Gotoxy(0,0); LCD_Puts("SMART GAS COCK  ");
  LCD_Gotoxy(0,1); LCD_Puts("booting...      ");

  printf("\r\n=== SMART GAS COCK : FSM + TELEMETRY ===\r\n");
  printf("btn: IDLE=open / OPEN=close / WARN,ALERT=confirm\r\n");
  printf("[flame] fire-watch only, mount AWAY from burner\r\n");
  if (HAL_I2C_IsDeviceReady(&hi2c1, MLX90614_ADDR, 3, 100) == HAL_OK) printf("[MLX90614] OK\r\n");
  else printf("[MLX90614] NOT FOUND\r\n");

  uint32_t last_print = 0;

  for (int i = 0; i < 400; i++) {          /* 약 500Hz, 0.4초 삑 */
      HAL_GPIO_TogglePin(BUZZER_PORT, BUZZER_PIN);
      HAL_Delay(1);
  }
  HAL_GPIO_WritePin(BUZZER_PORT, BUZZER_PIN, ACT_OFF);
  /* USER CODE END 2 */

  /* Infinite loop */
    while (1)
    {

    /* USER CODE BEGIN 3 */
        /* --- 버튼(PB9, 눌림=LOW) 폴링: 상태별 동작 --- */
        {
            static uint8_t  btn_prev = 1;
            static uint32_t btn_last = 0;
            uint8_t btn_now = (uint8_t)HAL_GPIO_ReadPin(BUTTON_GPIO_Port, BUTTON_Pin);
            if (btn_prev == 1 && btn_now == 0 && (HAL_GetTick() - btn_last) > 200) {
                btn_last = HAL_GetTick();
                switch (g_tele.state) {
                    case S_IDLE:               g_open_request  = 1; break;  /* 열기 */
                    case S_OPEN:               g_close_request = 1; break;  /* 정상 닫기 */
                    case S_WARN: case S_ALERT: g_confirm       = 1; break;  /* 확인/해제 */
                    default: break;
                }
            }
            btn_prev = btn_now;
        }

        /* --- 엔코더 회전(설정) + 푸시(확정) 폴링 --- */
        Encoder_Poll();
        EncBtn_Poll();

        /* --- CALIB 버튼(거리 보정) 폴링: 눌림 에지 → 요청 플래그 --- */
        {
            static uint8_t cb_prev = 0; static uint32_t cb_last = 0;
            uint8_t craw = (uint8_t)HAL_GPIO_ReadPin(CALIB_BTN_PORT, CALIB_BTN_PIN);
            uint8_t cpressed = CALIB_BTN_ACTIVE_LOW ? (craw==0) : (craw==1);
            if (cb_prev==0 && cpressed && (HAL_GetTick()-cb_last) > 300) { cb_last = HAL_GetTick(); g_calib_request = 1; }
            cb_prev = cpressed;
        }

        /* --- 경보 중 부저(패시브) 지속 --- */
        if (g_tele.state == S_ALERT) Buzzer_Beep(200);

        /* --- 센서 읽기 + FSM (주기적) --- */
        if ((HAL_GetTick() - last_print) >= PRINT_PERIOD_MS) {
            last_print = HAL_GetTick();

            uint16_t mq4_raw   = g_adc[MQ4_IDX];
            uint16_t flame_raw = g_adc[FLAME_IDX];
            uint8_t  flame_do  = (uint8_t)HAL_GPIO_ReadPin(FLAME_DO_GPIO_Port, FLAME_DO_Pin);

            float ambient_temp = 0.0f, object_temp = 0.0f;
            HAL_StatusTypeDef amb_st = MLX90614_ReadTemp(MLX90614_REG_AMBIENT, &ambient_temp);
            HAL_StatusTypeDef obj_st = MLX90614_ReadTemp(MLX90614_REG_OBJECT,  &object_temp);
            uint8_t temp_ok = (amb_st == HAL_OK && obj_st == HAL_OK);

            float distance_cm = 0.0f;
            HAL_StatusTypeDef hc_st = HC_SR04_ReadDistance(&distance_cm);
            uint8_t dist_ok = (hc_st == HAL_OK);

            FSM_Step(mq4_raw, flame_do, flame_raw, object_temp, ambient_temp, temp_ok, distance_cm, dist_ok);
            Tele_Print();
            LCD_UpdateStatus();
        }
  /* USER CODE END 3 */
}
}

void SystemClock_Config(void)
{
  RCC_OscInitTypeDef RCC_OscInitStruct = {0};
  RCC_ClkInitTypeDef RCC_ClkInitStruct = {0};
  RCC_PeriphCLKInitTypeDef PeriphClkInit = {0};

  /** Initializes the RCC Oscillators according to the specified parameters
  * in the RCC_OscInitTypeDef structure.
  */
  RCC_OscInitStruct.OscillatorType = RCC_OSCILLATORTYPE_HSI;
  RCC_OscInitStruct.HSIState = RCC_HSI_ON;
  RCC_OscInitStruct.HSICalibrationValue = RCC_HSICALIBRATION_DEFAULT;
  RCC_OscInitStruct.PLL.PLLState = RCC_PLL_ON;
  RCC_OscInitStruct.PLL.PLLSource = RCC_PLLSOURCE_HSI_DIV2;
  RCC_OscInitStruct.PLL.PLLMUL = RCC_PLL_MUL16;
  if (HAL_RCC_OscConfig(&RCC_OscInitStruct) != HAL_OK)
  {
    Error_Handler();
  }

  /** Initializes the CPU, AHB and APB buses clocks
  */
  RCC_ClkInitStruct.ClockType = RCC_CLOCKTYPE_HCLK|RCC_CLOCKTYPE_SYSCLK
                              |RCC_CLOCKTYPE_PCLK1|RCC_CLOCKTYPE_PCLK2;
  RCC_ClkInitStruct.SYSCLKSource = RCC_SYSCLKSOURCE_PLLCLK;
  RCC_ClkInitStruct.AHBCLKDivider = RCC_SYSCLK_DIV1;
  RCC_ClkInitStruct.APB1CLKDivider = RCC_HCLK_DIV2;
  RCC_ClkInitStruct.APB2CLKDivider = RCC_HCLK_DIV1;

  if (HAL_RCC_ClockConfig(&RCC_ClkInitStruct, FLASH_LATENCY_2) != HAL_OK)
  {
    Error_Handler();
  }
  PeriphClkInit.PeriphClockSelection = RCC_PERIPHCLK_ADC;
  PeriphClkInit.AdcClockSelection = RCC_ADCPCLK2_DIV8;
  if (HAL_RCCEx_PeriphCLKConfig(&PeriphClkInit) != HAL_OK)
  {
    Error_Handler();
  }
}

static void MX_ADC1_Init(void)
{

  ADC_ChannelConfTypeDef sConfig = {0};

  /** Common config
  */
  hadc1.Instance = ADC1;
  hadc1.Init.ScanConvMode = ADC_SCAN_ENABLE;
  hadc1.Init.ContinuousConvMode = ENABLE;
  hadc1.Init.DiscontinuousConvMode = DISABLE;
  hadc1.Init.ExternalTrigConv = ADC_SOFTWARE_START;
  hadc1.Init.DataAlign = ADC_DATAALIGN_RIGHT;
  hadc1.Init.NbrOfConversion = 2;
  if (HAL_ADC_Init(&hadc1) != HAL_OK)
  {
    Error_Handler();
  }

  /** Configure Regular Channel
  */
  sConfig.Channel = ADC_CHANNEL_0;
  sConfig.Rank = ADC_REGULAR_RANK_1;
  sConfig.SamplingTime = ADC_SAMPLETIME_55CYCLES_5;
  if (HAL_ADC_ConfigChannel(&hadc1, &sConfig) != HAL_OK)
  {
    Error_Handler();
  }

  /** Configure Regular Channel
  */
  sConfig.Channel = ADC_CHANNEL_1;
  sConfig.Rank = ADC_REGULAR_RANK_2;
  if (HAL_ADC_ConfigChannel(&hadc1, &sConfig) != HAL_OK)
  {
    Error_Handler();
  }

}

static void MX_I2C1_Init(void)
{

  hi2c1.Instance = I2C1;
  hi2c1.Init.ClockSpeed = 100000;
  hi2c1.Init.DutyCycle = I2C_DUTYCYCLE_2;
  hi2c1.Init.OwnAddress1 = 0;
  hi2c1.Init.AddressingMode = I2C_ADDRESSINGMODE_7BIT;
  hi2c1.Init.DualAddressMode = I2C_DUALADDRESS_DISABLE;
  hi2c1.Init.OwnAddress2 = 0;
  hi2c1.Init.GeneralCallMode = I2C_GENERALCALL_DISABLE;
  hi2c1.Init.NoStretchMode = I2C_NOSTRETCH_DISABLE;
  if (HAL_I2C_Init(&hi2c1) != HAL_OK)
  {
    Error_Handler();
  }

}

static void MX_I2C2_Init(void)
{

  hi2c2.Instance = I2C2;
  hi2c2.Init.ClockSpeed = 100000;
  hi2c2.Init.DutyCycle = I2C_DUTYCYCLE_2;
  hi2c2.Init.OwnAddress1 = 0;
  hi2c2.Init.AddressingMode = I2C_ADDRESSINGMODE_7BIT;
  hi2c2.Init.DualAddressMode = I2C_DUALADDRESS_DISABLE;
  hi2c2.Init.OwnAddress2 = 0;
  hi2c2.Init.GeneralCallMode = I2C_GENERALCALL_DISABLE;
  hi2c2.Init.NoStretchMode = I2C_NOSTRETCH_DISABLE;
  if (HAL_I2C_Init(&hi2c2) != HAL_OK)
  {
    Error_Handler();
  }

}

static void MX_TIM1_Init(void)
{

  TIM_Encoder_InitTypeDef sConfig = {0};
  TIM_MasterConfigTypeDef sMasterConfig = {0};

  htim1.Instance = TIM1;
  htim1.Init.Prescaler = 0;
  htim1.Init.CounterMode = TIM_COUNTERMODE_UP;
  htim1.Init.Period = 65535;
  htim1.Init.ClockDivision = TIM_CLOCKDIVISION_DIV1;
  htim1.Init.RepetitionCounter = 0;
  htim1.Init.AutoReloadPreload = TIM_AUTORELOAD_PRELOAD_DISABLE;
  sConfig.EncoderMode = TIM_ENCODERMODE_TI12;
  sConfig.IC1Polarity = TIM_ICPOLARITY_RISING;
  sConfig.IC1Selection = TIM_ICSELECTION_DIRECTTI;
  sConfig.IC1Prescaler = TIM_ICPSC_DIV1;
  sConfig.IC1Filter = 0;
  sConfig.IC2Polarity = TIM_ICPOLARITY_RISING;
  sConfig.IC2Selection = TIM_ICSELECTION_DIRECTTI;
  sConfig.IC2Prescaler = TIM_ICPSC_DIV1;
  sConfig.IC2Filter = 0;
  if (HAL_TIM_Encoder_Init(&htim1, &sConfig) != HAL_OK)
  {
    Error_Handler();
  }
  sMasterConfig.MasterOutputTrigger = TIM_TRGO_RESET;
  sMasterConfig.MasterSlaveMode = TIM_MASTERSLAVEMODE_DISABLE;
  if (HAL_TIMEx_MasterConfigSynchronization(&htim1, &sMasterConfig) != HAL_OK)
  {
    Error_Handler();
  }

}

static void MX_TIM2_Init(void)
{

  TIM_ClockConfigTypeDef sClockSourceConfig = {0};
  TIM_MasterConfigTypeDef sMasterConfig = {0};

  htim2.Instance = TIM2;
  htim2.Init.Prescaler = 63;
  htim2.Init.CounterMode = TIM_COUNTERMODE_UP;
  htim2.Init.Period = 65535;
  htim2.Init.ClockDivision = TIM_CLOCKDIVISION_DIV1;
  htim2.Init.AutoReloadPreload = TIM_AUTORELOAD_PRELOAD_DISABLE;
  if (HAL_TIM_Base_Init(&htim2) != HAL_OK)
  {
    Error_Handler();
  }
  sClockSourceConfig.ClockSource = TIM_CLOCKSOURCE_INTERNAL;
  if (HAL_TIM_ConfigClockSource(&htim2, &sClockSourceConfig) != HAL_OK)
  {
    Error_Handler();
  }
  sMasterConfig.MasterOutputTrigger = TIM_TRGO_RESET;
  sMasterConfig.MasterSlaveMode = TIM_MASTERSLAVEMODE_DISABLE;
  if (HAL_TIMEx_MasterConfigSynchronization(&htim2, &sMasterConfig) != HAL_OK)
  {
    Error_Handler();
  }

}

static void MX_TIM3_Init(void)
{

  TIM_ClockConfigTypeDef sClockSourceConfig = {0};
  TIM_MasterConfigTypeDef sMasterConfig = {0};
  TIM_OC_InitTypeDef sConfigOC = {0};

  htim3.Instance = TIM3;
  htim3.Init.Prescaler = 63;
  htim3.Init.CounterMode = TIM_COUNTERMODE_UP;
  htim3.Init.Period = 19999;
  htim3.Init.ClockDivision = TIM_CLOCKDIVISION_DIV1;
  htim3.Init.AutoReloadPreload = TIM_AUTORELOAD_PRELOAD_DISABLE;
  if (HAL_TIM_Base_Init(&htim3) != HAL_OK)
  {
    Error_Handler();
  }
  sClockSourceConfig.ClockSource = TIM_CLOCKSOURCE_INTERNAL;
  if (HAL_TIM_ConfigClockSource(&htim3, &sClockSourceConfig) != HAL_OK)
  {
    Error_Handler();
  }
  if (HAL_TIM_PWM_Init(&htim3) != HAL_OK)
  {
    Error_Handler();
  }
  sMasterConfig.MasterOutputTrigger = TIM_TRGO_RESET;
  sMasterConfig.MasterSlaveMode = TIM_MASTERSLAVEMODE_DISABLE;
  if (HAL_TIMEx_MasterConfigSynchronization(&htim3, &sMasterConfig) != HAL_OK)
  {
    Error_Handler();
  }
  sConfigOC.OCMode = TIM_OCMODE_PWM1;
  sConfigOC.Pulse = 1500;
  sConfigOC.OCPolarity = TIM_OCPOLARITY_HIGH;
  sConfigOC.OCFastMode = TIM_OCFAST_DISABLE;
  if (HAL_TIM_PWM_ConfigChannel(&htim3, &sConfigOC, TIM_CHANNEL_1) != HAL_OK)
  {
    Error_Handler();
  }
  HAL_TIM_MspPostInit(&htim3);

}

static void MX_USART2_UART_Init(void)
{

  huart2.Instance = USART2;
  huart2.Init.BaudRate = 115200;
  huart2.Init.WordLength = UART_WORDLENGTH_8B;
  huart2.Init.StopBits = UART_STOPBITS_1;
  huart2.Init.Parity = UART_PARITY_NONE;
  huart2.Init.Mode = UART_MODE_TX_RX;
  huart2.Init.HwFlowCtl = UART_HWCONTROL_NONE;
  huart2.Init.OverSampling = UART_OVERSAMPLING_16;
  if (HAL_UART_Init(&huart2) != HAL_OK)
  {
    Error_Handler();
  }

}

static void MX_DMA_Init(void)
{

  /* DMA controller clock enable */
  __HAL_RCC_DMA1_CLK_ENABLE();

  /* DMA interrupt init */
  /* DMA1_Channel1_IRQn interrupt configuration */
  HAL_NVIC_SetPriority(DMA1_Channel1_IRQn, 0, 0);
  HAL_NVIC_EnableIRQ(DMA1_Channel1_IRQn);

}

static void MX_GPIO_Init(void)
{
  GPIO_InitTypeDef GPIO_InitStruct = {0};

  /* GPIO Ports Clock Enable */
  __HAL_RCC_GPIOC_CLK_ENABLE();
  __HAL_RCC_GPIOD_CLK_ENABLE();
  __HAL_RCC_GPIOA_CLK_ENABLE();
  __HAL_RCC_GPIOB_CLK_ENABLE();

  /*Configure GPIO pin Output Level */
  HAL_GPIO_WritePin(GPIOC, LED_RED_Pin|LED_YELLOW_Pin, GPIO_PIN_RESET);

  /*Configure GPIO pin Output Level */
  HAL_GPIO_WritePin(GPIOA, LED_GREEN_Pin|LD2_Pin, GPIO_PIN_RESET);

  /*Configure GPIO pin Output Level */
  HAL_GPIO_WritePin(GPIOB, HC_TRIG_Pin|BUZZER_Pin, GPIO_PIN_RESET);

  /*Configure GPIO pin : B1_Pin */
  GPIO_InitStruct.Pin = B1_Pin;
  GPIO_InitStruct.Mode = GPIO_MODE_IT_RISING;
  GPIO_InitStruct.Pull = GPIO_NOPULL;
  HAL_GPIO_Init(B1_GPIO_Port, &GPIO_InitStruct);

  /*Configure GPIO pins : LED_RED_Pin LED_YELLOW_Pin */
  GPIO_InitStruct.Pin = LED_RED_Pin|LED_YELLOW_Pin;
  GPIO_InitStruct.Mode = GPIO_MODE_OUTPUT_PP;
  GPIO_InitStruct.Pull = GPIO_NOPULL;
  GPIO_InitStruct.Speed = GPIO_SPEED_FREQ_LOW;
  HAL_GPIO_Init(GPIOC, &GPIO_InitStruct);

  /*Configure GPIO pins : FLAME_DO_Pin MQ4_DO_Pin HC_ECHO_Pin */
  GPIO_InitStruct.Pin = FLAME_DO_Pin|MQ4_DO_Pin|HC_ECHO_Pin;
  GPIO_InitStruct.Mode = GPIO_MODE_INPUT;
  GPIO_InitStruct.Pull = GPIO_NOPULL;
  HAL_GPIO_Init(GPIOC, &GPIO_InitStruct);

  /*Configure GPIO pins : LED_GREEN_Pin LD2_Pin */
  GPIO_InitStruct.Pin = LED_GREEN_Pin|LD2_Pin;
  GPIO_InitStruct.Mode = GPIO_MODE_OUTPUT_PP;
  GPIO_InitStruct.Pull = GPIO_NOPULL;
  GPIO_InitStruct.Speed = GPIO_SPEED_FREQ_LOW;
  HAL_GPIO_Init(GPIOA, &GPIO_InitStruct);

  /*Configure GPIO pin : CALIB_BTN_Pin */
  GPIO_InitStruct.Pin = CALIB_BTN_Pin;
  GPIO_InitStruct.Mode = GPIO_MODE_INPUT;
  GPIO_InitStruct.Pull = GPIO_PULLUP;
  HAL_GPIO_Init(CALIB_BTN_GPIO_Port, &GPIO_InitStruct);

  /*Configure GPIO pins : HC_TRIG_Pin BUZZER_Pin */
  GPIO_InitStruct.Pin = HC_TRIG_Pin|BUZZER_Pin;
  GPIO_InitStruct.Mode = GPIO_MODE_OUTPUT_PP;
  GPIO_InitStruct.Pull = GPIO_NOPULL;
  GPIO_InitStruct.Speed = GPIO_SPEED_FREQ_LOW;
  HAL_GPIO_Init(GPIOB, &GPIO_InitStruct);

  /*Configure GPIO pin : ENCODER_Pin */
  GPIO_InitStruct.Pin = ENCODER_Pin;
  GPIO_InitStruct.Mode = GPIO_MODE_INPUT;
  GPIO_InitStruct.Pull = GPIO_PULLUP;
  HAL_GPIO_Init(ENCODER_GPIO_Port, &GPIO_InitStruct);

  /*Configure GPIO pin : BUTTON_Pin */
  GPIO_InitStruct.Pin = BUTTON_Pin;
  GPIO_InitStruct.Mode = GPIO_MODE_IT_FALLING;
  GPIO_InitStruct.Pull = GPIO_PULLUP;
  HAL_GPIO_Init(BUTTON_GPIO_Port, &GPIO_InitStruct);

  /* EXTI interrupt init*/
  HAL_NVIC_SetPriority(EXTI9_5_IRQn, 1, 0);
  HAL_NVIC_EnableIRQ(EXTI9_5_IRQn);

  HAL_NVIC_SetPriority(EXTI15_10_IRQn, 1, 0);
  HAL_NVIC_EnableIRQ(EXTI15_10_IRQn);

}

/* USER CODE BEGIN 4 */
/* USART2 수신 인터럽트 (CubeMX가 안 만들었으므로 직접 정의) */
void USART2_IRQHandler(void)
{
    uint32_t sr = huart2.Instance->SR;
    if (sr & USART_SR_RXNE) { uint8_t c = (uint8_t)(huart2.Instance->DR & 0xFF); g_rx_count++; Servo_HandleChar(c); }
    else if (sr & USART_SR_ORE) { (void)huart2.Instance->DR; }
}

/* USER CODE END 4 */

void Error_Handler(void)
{
    __disable_irq();
    while (1)
    {
    }
}
